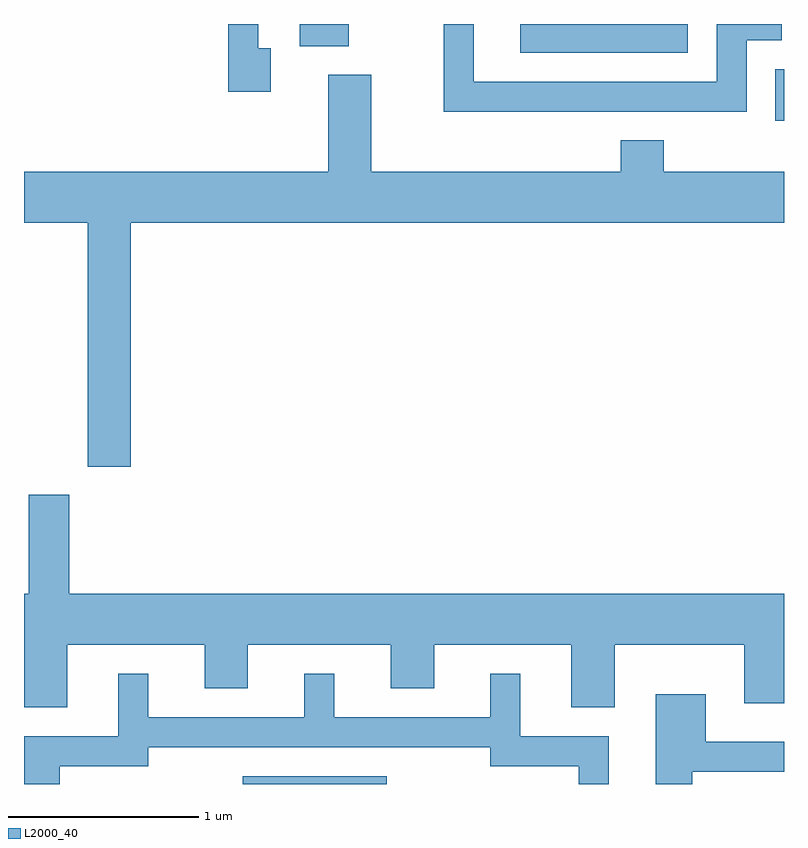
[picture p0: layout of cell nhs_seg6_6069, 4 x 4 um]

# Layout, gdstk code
import gdstk
lib = gdstk.Library(unit=1e-6, precision=1e-09)
def R(c, l, rs):  # rectangles x0, y0, x1, y1
    for r in rs: c.add(gdstk.rectangle(r[:2], r[2:], *l))
def P(c, l, *ps):  # polygons
    for p in ps: c.add(gdstk.Polygon(p, *l))
L2000_40 = (2000, 40)

nhs_seg6_6069 = lib.new_cell('nhs_seg6_6069')
R(nhs_seg6_6069, L2000_40, [(370.761,1578.162,371.519,1578.204), (373.566,1581.653,373.611,1581.924), (372.223,1582.011,373.104,1582.162), (371.061,1582.046,371.319,1582.162)])
P(nhs_seg6_6069, L2000_40, [(370.909,1582.034),(370.844,1582.034),(370.844,1582.162),(370.686,1582.162),(370.686,1581.806),(370.909,1581.806)],
  [(373.414,1582.076),(373.598,1582.076),(373.598,1582.162),(373.256,1582.162),(373.256,1581.859),(371.979,1581.859),(371.979,1582.162),(371.821,1582.162),(371.821,1581.701),(373.414,1581.701)],
  [(373.611,1581.384),(372.979,1581.384),(372.979,1581.549),(372.751,1581.549),(372.751,1581.384),(371.439,1581.384),(371.439,1581.894),(371.211,1581.894),(371.211,1581.384),(369.611,1581.384),(369.611,1581.116),(369.946,1581.116),(369.946,1579.831),(370.174,1579.831),(370.174,1581.116),(373.611,1581.116)],
  [(369.839,1578.896),(370.561,1578.896),(370.561,1578.666),(370.789,1578.666),(370.789,1578.896),(371.541,1578.896),(371.541,1578.666),(371.769,1578.666),(371.769,1578.896),(372.491,1578.896),(372.491,1578.566),(372.719,1578.566),(372.719,1578.896),(373.401,1578.896),(373.401,1578.586),(373.611,1578.586),(373.611,1579.164),(369.849,1579.164),(369.849,1579.684),(369.636,1579.684),(369.636,1579.164),(369.611,1579.164),(369.611,1578.566),(369.839,1578.566)],
  [(369.799,1578.256),(370.264,1578.256),(370.264,1578.356),(372.066,1578.356),(372.066,1578.256),(372.531,1578.256),(372.531,1578.162),(372.689,1578.162),(372.689,1578.414),(372.224,1578.414),(372.224,1578.743),(372.066,1578.743),(372.066,1578.514),(371.244,1578.514),(371.244,1578.743),(371.086,1578.743),(371.086,1578.514),(370.264,1578.514),(370.264,1578.743),(370.106,1578.743),(370.106,1578.414),(369.611,1578.414),(369.611,1578.162),(369.799,1578.162)],
  [(373.129,1578.226),(373.611,1578.226),(373.611,1578.384),(373.199,1578.384),(373.199,1578.634),(372.936,1578.634),(372.936,1578.162),(373.129,1578.162)])

lib.write_gds('nhs_seg6_6069.gds')
